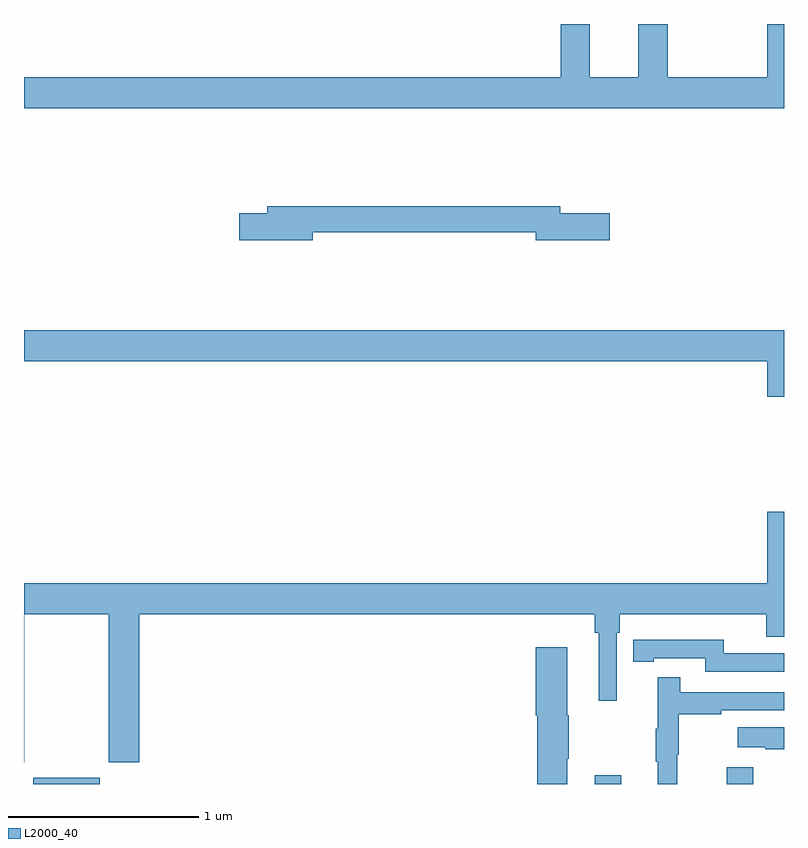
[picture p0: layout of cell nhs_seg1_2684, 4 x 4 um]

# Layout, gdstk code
import gdstk
lib = gdstk.Library(unit=1e-6, precision=1e-09)
def R(c, l, rs):  # rectangles x0, y0, x1, y1
    for r in rs: c.add(gdstk.rectangle(r[:2], r[2:], *l))
def P(c, l, *ps):  # polygons
    for p in ps: c.add(gdstk.Polygon(p, *l))
L2000_40 = (2000, 40)

nhs_seg1_2684 = lib.new_cell('nhs_seg1_2684')
R(nhs_seg1_2684, L2000_40, [(257.048,524.199,257.398,524.233), (260.003,524.199,260.143,524.245), (260.699,524.199,260.839,524.287)])
P(nhs_seg1_2684, L2000_40, [(261,528.199),(260.912,528.199),(260.912,527.92),(260.387,527.92),(260.387,528.199),(260.234,528.199),(260.234,527.92),(259.978,527.92),(259.978,528.199),(259.826,528.199),(259.826,527.92),(257,527.92),(257,527.756),(261,527.756)],
  [(258.52,527.104),(259.694,527.104),(259.694,527.062),(260.083,527.062),(260.083,527.204),(259.822,527.204),(259.822,527.24),(258.281,527.24),(258.281,527.204),(258.132,527.204),(258.132,527.062),(258.52,527.062)],
  [(261,526.588),(257,526.588),(257,526.424),(260.912,526.424),(260.912,526.236),(261,526.236)],
  [(257.001,525.092),(257.446,525.092),(257.446,524.313),(257.606,524.313),(257.606,525.092),(260.005,525.092),(260.005,524.996),(260.024,524.996),(260.024,524.637),(260.121,524.637),(260.121,524.996),(260.135,524.996),(260.135,525.092),(260.906,525.092),(260.906,524.975),(261,524.975),(261,525.631),(260.912,525.631),(260.912,525.256),(257,525.256),(257,524.313),(257.001,524.313)],
  [(261,524.886),(260.682,524.886),(260.682,524.959),(260.314,524.959),(260.314,524.958),(260.206,524.958),(260.206,524.842),(260.314,524.842),(260.314,524.862),(260.586,524.862),(260.586,524.79),(261,524.79)],
  [(259.858,524.332),(259.866,524.332),(259.866,524.562),(259.858,524.562),(259.858,524.92),(259.694,524.92),(259.694,524.562),(259.7,524.562),(259.7,524.199),(259.858,524.199)],
  [(260.438,524.352),(260.446,524.352),(260.446,524.566),(260.669,524.566),(260.669,524.586),(261,524.586),(261,524.682),(260.453,524.682),(260.453,524.761),(260.336,524.761),(260.336,524.489),(260.325,524.489),(260.325,524.315),(260.336,524.315),(260.336,524.199),(260.438,524.199)],
  [(261,524.497),(260.757,524.497),(260.757,524.393),(260.9,524.393),(260.9,524.383),(261,524.383)])

lib.write_gds('nhs_seg1_2684.gds')
